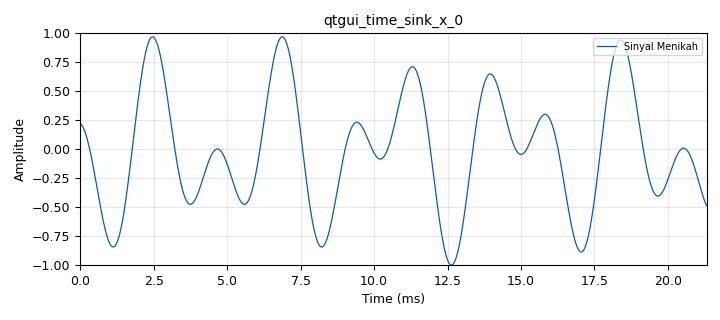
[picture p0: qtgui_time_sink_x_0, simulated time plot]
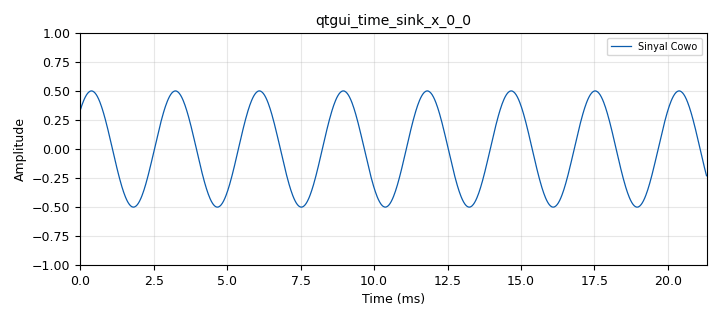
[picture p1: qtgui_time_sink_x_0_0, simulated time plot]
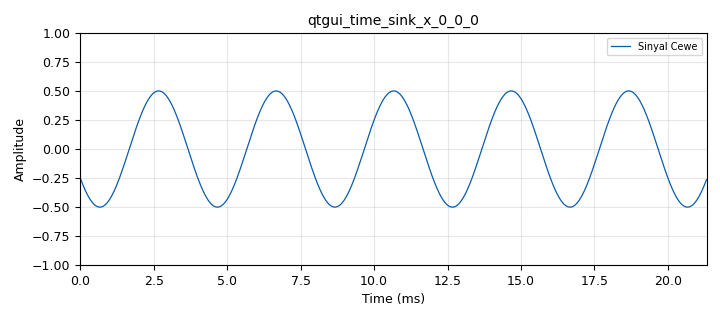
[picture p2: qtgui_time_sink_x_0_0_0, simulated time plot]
options:
  parameters:
    author: M Dzakwan Falih
    copyright: Bitywre (C) 2020
    generate_options: qt_gui
    id: add
    output_language: python
    title: 'Trying add block '
  states: {}

blocks:
- name: samp_rate
  id: variable
  parameters:
    value: '48000'
  states: {}
- name: analog_sig_source_x_0
  id: analog_sig_source_x
  parameters:
    amp: '0.5'
    freq: '250'
    offset: '0'
    phase: '0'
    samp_rate: samp_rate
    type: float
    waveform: analog.GR_COS_WAVE
  states: {}
- name: analog_sig_source_x_0_0
  id: analog_sig_source_x
  parameters:
    amp: '0.5'
    freq: '350'
    offset: '0'
    phase: '0'
    samp_rate: samp_rate
    type: float
    waveform: analog.GR_COS_WAVE
  states: {}
- name: analog_sig_source_x_0_0_0
  id: analog_sig_source_x
  parameters:
    amp: '0.5'
    freq: '250'
    offset: '0'
    phase: '0'
    samp_rate: samp_rate
    type: float
    waveform: analog.GR_COS_WAVE
  states: {}
- name: analog_sig_source_x_1
  id: analog_sig_source_x
  parameters:
    amp: '0.5'
    freq: '440'
    offset: '0'
    phase: '0'
    samp_rate: samp_rate
    type: float
    waveform: analog.GR_COS_WAVE
  states: {}
- name: blocks_add_xx_0
  id: blocks_add_xx
  parameters:
    type: float
  states: {}
- name: blocks_throttle_0
  id: blocks_throttle
  parameters:
    samples_per_second: samp_rate
    type: float
  states: {}
- name: blocks_throttle_0_0
  id: blocks_throttle
  parameters:
    samples_per_second: samp_rate
    type: float
  states: {}
- name: blocks_throttle_0_0_0
  id: blocks_throttle
  parameters:
    samples_per_second: samp_rate
    type: float
  states: {}
- name: qtgui_time_sink_x_0
  id: qtgui_time_sink_x
  parameters:
    label1: Sinyal Menikah
    size: '1024'
    srate: samp_rate
    type: float
  states: {}
- name: qtgui_time_sink_x_0_0
  id: qtgui_time_sink_x
  parameters:
    color1: red
    label1: Sinyal Cowo
    size: '1024'
    srate: samp_rate
    type: float
  states: {}
- name: qtgui_time_sink_x_0_0_0
  id: qtgui_time_sink_x
  parameters:
    color1: dark green
    label1: Sinyal Cewe
    size: '1024'
    srate: samp_rate
    type: float
  states: {}

connections:
- [analog_sig_source_x_0, '0', blocks_add_xx_0, '1']
- [analog_sig_source_x_0_0, '0', blocks_throttle_0_0, '0']
- [analog_sig_source_x_0_0_0, '0', blocks_throttle_0_0_0, '0']
- [analog_sig_source_x_1, '0', blocks_add_xx_0, '0']
- [blocks_add_xx_0, '0', blocks_throttle_0, '0']
- [blocks_throttle_0, '0', qtgui_time_sink_x_0, '0']
- [blocks_throttle_0_0, '0', qtgui_time_sink_x_0_0, '0']
- [blocks_throttle_0_0_0, '0', qtgui_time_sink_x_0_0_0, '0']

metadata:
  file_format: 1
